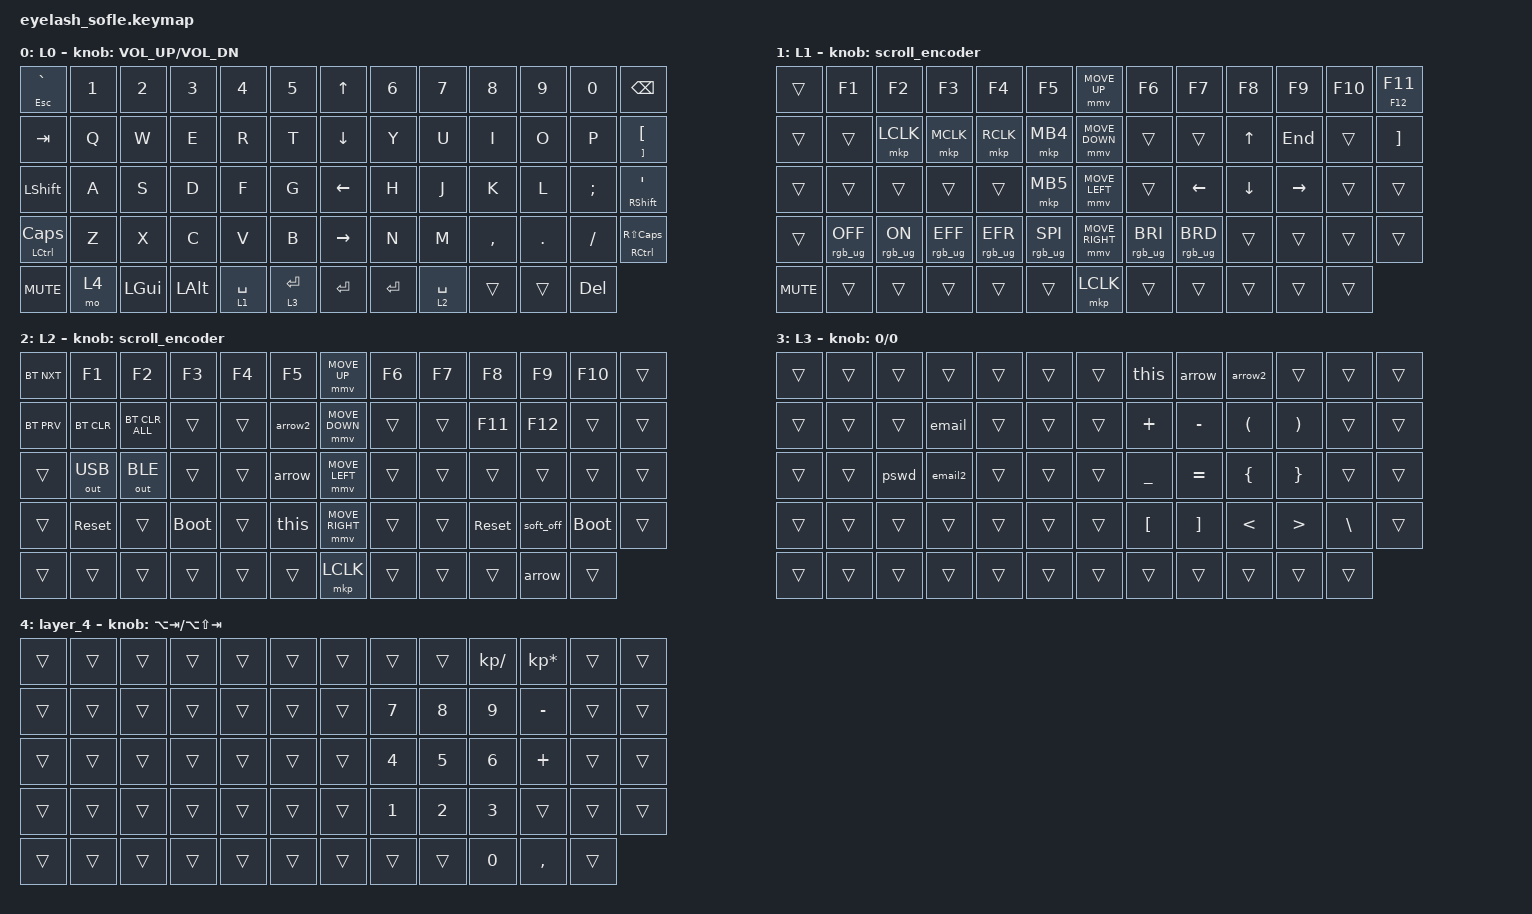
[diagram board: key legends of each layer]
#define ZMK_POINTING_DEFAULT_MOVE_VAL 1200  // 600
#define ZMK_POINTING_DEFAULT_SCRL_VAL 25   // 10

#include <input/processors.dtsi>
#include <zephyr/dt-bindings/input/input-event-codes.h>
#include <behaviors.dtsi>
#include <dt-bindings/zmk/bt.h>
#include <dt-bindings/zmk/keys.h>
#include <dt-bindings/zmk/outputs.h>
#include <dt-bindings/zmk/pointing.h>
#include <dt-bindings/zmk/rgb.h>

&mmv_input_listener { input-processors = <&zip_xy_scaler 2 1>; };

&msc_input_listener { input-processors = <&zip_scroll_scaler 2 1>; };

&msc {
    acceleration-exponent = <1>;      // 0
    time-to-max-speed-ms = <100>;       // 300
    delay-ms = <0>;                   // 0
};

&mmv {
    time-to-max-speed-ms = <500>;
    acceleration-exponent = <1>;
    trigger-period-ms = <16>;
};

/ {
    scroll_encoder: scroll_encoder {
        compatible = "zmk,behavior-sensor-rotate";
        #sensor-binding-cells = <0>;
        bindings = <&msc SCRL_DOWN>, <&msc SCRL_UP>;

        tap-ms = <100>;
    };

    behaviors {
    };

    combos {
        compatible = "zmk,combos";

        arrow {
            bindings = <&arrow>;
            key-positions = <34 35>;
            layers = <1>;
        };
    };

    macros {
        arrow: arrow {
            compatible = "zmk,behavior-macro";
            #binding-cells = <0>;
            bindings = <&none &kp MINUS &kp GT>;
            label = "ARROW";
        };

        this: this {
            compatible = "zmk,behavior-macro";
            #binding-cells = <0>;
            bindings = <&none &kp DLLR &kp T &kp H &kp I &kp S &kp MINUS &kp GT>;
            label = "THIS";
        };

        arrow2: arrow2 {
            compatible = "zmk,behavior-macro";
            #binding-cells = <0>;
            bindings = <&none &kp EQUAL &kp GT>;
            label = "ARROW2";
        };

        email: email {
            compatible = "zmk,behavior-macro";
            #binding-cells = <0>;
            bindings = <&none &kp P &kp A &kp V &kp E &kp L &kp DOT &kp P &kp O &kp L &kp I &kp T &kp A &kp E &kp F &kp F &kp AT &kp Y &kp A &kp N &kp D &kp E &kp X &kp DOT &kp R &kp U>;
            label = "EMAIL";
        };

        email2: email2 {
            compatible = "zmk,behavior-macro";
            #binding-cells = <0>;
            bindings = <&none &kp P &kp A &kp V &kp E &kp L &kp DOT &kp P &kp O &kp L &kp I &kp T &kp A &kp E &kp V &kp AT &kp G &kp M &kp A &kp I &kp L &kp DOT &kp C &kp O &kp M>;
            label = "EMAIL2";
        };

        pswd: pswd {
            compatible = "zmk,behavior-macro";
            #binding-cells = <0>;
            bindings = <&none &kp P &kp O &kp L &kp I &kp T &kp A &kp E &kp V &kp N1 &kp N9 &kp N0 &kp N6 &kp N1 &kp N9 &kp N8 &kp N7 &kp P &kp A &kp V &kp E &kp L>;
            label = "PSWD";
        };
    };

    keymap {
        compatible = "zmk,keymap";

        layer0 {
            bindings = <
&mt ESCAPE GRAVE           &kp N1  &kp N2        &kp N3        &kp N4       &kp N5         &kp UP_ARROW    &kp N6     &kp N7       &kp N8     &kp N9   &kp N0      &kp BACKSPACE
&kp TAB                    &kp Q   &kp W         &kp E         &kp R        &kp T          &kp DOWN_ARROW  &kp Y      &kp U        &kp I      &kp O    &kp P       &mt RIGHT_BRACKET LEFT_BRACKET
&kp LEFT_SHIFT             &kp A   &kp S         &kp D         &kp F        &kp G          &kp LEFT        &kp H      &kp J        &kp K      &kp L    &kp SEMI    &mt RSHIFT APOS
&mt LEFT_CONTROL CAPSLOCK  &kp Z   &kp X         &kp C         &kp V        &kp B          &kp RIGHT       &kp N      &kp M        &kp COMMA  &kp DOT  &kp FSLH    &mt RIGHT_CONTROL RS(CAPSLOCK)
&kp C_MUTE                 &mo 4   &kp LEFT_GUI  &kp LEFT_ALT  &lt 1 SPACE  &lt 3 ENTER    &kp ENTER       &kp ENTER  &lt 2 SPACE  &trans     &trans   &kp DELETE
            >;

            sensor-bindings = <&inc_dec_kp C_VOLUME_UP C_VOL_DN>;
            display-name = "L0";
        };

        layer_1 {
            bindings = <
&trans      &kp F1           &kp F2          &kp F3           &kp F4           &kp F5             &mmv MOVE_UP     &kp F6           &kp F7           &kp F8    &kp F9     &kp F10  &mt F12 F11
&trans      &trans           &mkp LCLK       &mkp MCLK        &mkp RCLK        &mkp MB4           &mmv MOVE_DOWN   &trans           &trans           &kp UP    &kp END    &trans   &kp RIGHT_BRACKET
&trans      &trans           &trans          &trans           &trans           &mkp MB5           &mmv MOVE_LEFT   &trans           &kp LEFT         &kp DOWN  &kp RIGHT  &trans   &trans
&trans      &rgb_ug RGB_OFF  &rgb_ug RGB_ON  &rgb_ug RGB_EFF  &rgb_ug RGB_EFR  &rgb_ug RGB_SPI    &mmv MOVE_RIGHT  &rgb_ug RGB_BRI  &rgb_ug RGB_BRD  &trans    &trans     &trans   &trans
&kp C_MUTE  &trans           &trans          &trans           &trans           &trans             &mkp LCLK        &trans           &trans           &trans    &trans     &trans
            >;

            display-name = "L1";
            sensor-bindings = <&scroll_encoder>;
        };

        layer_2 {
            bindings = <
&bt BT_NXT  &kp F1        &kp F2          &kp F3       &kp F4  &kp F5     &mmv MOVE_UP     &kp F6  &kp F7  &kp F8      &kp F9     &kp F10      &trans
&bt BT_PRV  &bt BT_CLR    &bt BT_CLR_ALL  &trans       &trans  &arrow2    &mmv MOVE_DOWN   &trans  &trans  &kp F11     &kp F12    &trans       &trans
&trans      &out OUT_USB  &out OUT_BLE    &trans       &trans  &arrow     &mmv MOVE_LEFT   &trans  &trans  &trans      &trans     &trans       &trans
&trans      &sys_reset    &trans          &bootloader  &trans  &this      &mmv MOVE_RIGHT  &trans  &trans  &sys_reset  &soft_off  &bootloader  &trans
&trans      &trans        &trans          &trans       &trans  &trans     &mkp LCLK        &trans  &trans  &trans      &arrow     &trans
            >;

            sensor-bindings = <&scroll_encoder>;
            label = "L2";
        };

        layer_3 {
            bindings = <
&trans  &trans  &trans  &trans   &trans  &trans    &trans  &this             &arrow             &arrow2               &trans                 &trans         &trans
&trans  &trans  &trans  &email   &trans  &trans    &trans  &kp PLUS          &kp MINUS          &kp LEFT_PARENTHESIS  &kp RIGHT_PARENTHESIS  &trans         &trans
&trans  &trans  &pswd   &email2  &trans  &trans    &trans  &kp UNDERSCORE    &kp EQUAL          &kp LEFT_BRACE        &kp RIGHT_BRACE        &trans         &trans
&trans  &trans  &trans  &trans   &trans  &trans    &trans  &kp LEFT_BRACKET  &kp RIGHT_BRACKET  &kp LESS_THAN         &kp GREATER_THAN       &kp BACKSLASH  &trans
&trans  &trans  &trans  &trans   &trans  &trans    &trans  &trans            &trans             &trans                &trans                 &trans
            >;

            label = "L3";
            sensor-bindings = <&inc_dec_kp 0 0>;
        };

        layer_4 {
            bindings = <
&trans  &trans  &trans  &trans  &trans  &trans    &trans  &trans        &trans        &kp KP_DIVIDE  &kp KP_MULTIPLY  &trans  &trans
&trans  &trans  &trans  &trans  &trans  &trans    &trans  &kp NUMBER_7  &kp NUMBER_8  &kp NUMBER_9   &kp MINUS        &trans  &trans
&trans  &trans  &trans  &trans  &trans  &trans    &trans  &kp NUMBER_4  &kp NUMBER_5  &kp NUMBER_6   &kp PLUS         &trans  &trans
&trans  &trans  &trans  &trans  &trans  &trans    &trans  &kp NUMBER_1  &kp NUMBER_2  &kp NUMBER_3   &trans           &trans  &trans
&trans  &trans  &trans  &trans  &trans  &trans    &trans  &trans        &trans        &kp NUMBER_0   &kp COMMA        &trans
            >;

            sensor-bindings = <&inc_dec_kp LA(TAB) LA(LS(TAB))>;
        };
    };
};
